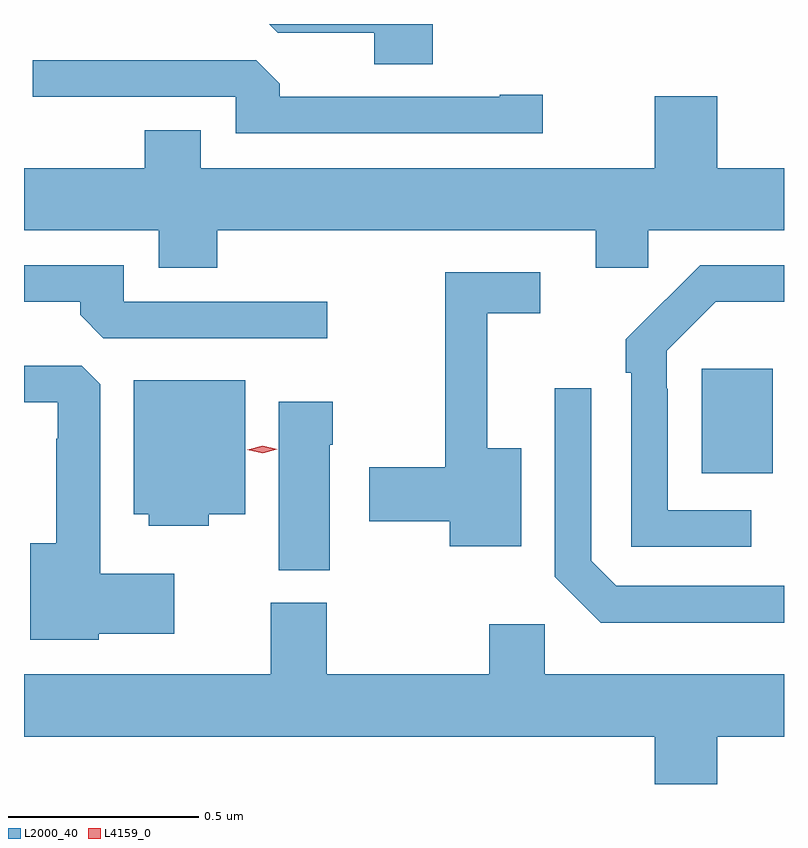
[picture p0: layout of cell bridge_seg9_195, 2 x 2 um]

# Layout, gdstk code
import gdstk
lib = gdstk.Library(unit=1e-6, precision=1e-09)
def R(c, l, rs):  # rectangles x0, y0, x1, y1
    for r in rs: c.add(gdstk.rectangle(r[:2], r[2:], *l))
def P(c, l, *ps):  # polygons
    for p in ps: c.add(gdstk.Polygon(p, *l))
L2000_40 = (2000, 40)
L4159_0 = (4159, 0)

bridge_seg9_195 = lib.new_cell('bridge_seg9_195')
R(bridge_seg9_195, L2000_40, [(177.119,1186.457,177.307,1186.732)])
P(bridge_seg9_195, L2000_40, [(176.411,1187.639),(175.981,1187.639),(176.004,1187.616),(176.258,1187.616),(176.258,1187.533),(176.411,1187.533)],
  [(176.701,1187.453),(176.588,1187.453),(176.588,1187.448),(176.009,1187.448),(176.009,1187.482),(175.947,1187.544),(175.359,1187.544),(175.359,1187.448),(175.893,1187.448),(175.893,1187.352),(176.701,1187.352)],
  [(175.844,1187.096),(176.84,1187.096),(176.84,1186.998),(176.979,1186.998),(176.979,1187.096),(177.336,1187.096),(177.336,1187.26),(177.16,1187.26),(177.16,1187.449),(176.996,1187.449),(176.996,1187.26),(175.801,1187.26),(175.801,1187.359),(175.654,1187.359),(175.654,1187.26),(175.336,1187.26),(175.336,1187.096),(175.691,1187.096),(175.691,1186.997),(175.844,1186.997)],
  [(176.134,1186.908),(175.599,1186.908),(175.599,1187.004),(175.336,1187.004),(175.336,1186.908),(175.484,1186.908),(175.484,1186.874),(175.545,1186.812),(176.134,1186.812)],
  [(177.25,1186.359),(177.03,1186.359),(177.03,1186.679),(177.027,1186.679),(177.027,1186.779),(177.156,1186.908),(177.336,1186.908),(177.336,1187.004),(177.116,1187.004),(177.025,1186.913),(177.024,1186.914),(176.919,1186.809),(176.919,1186.721),(176.934,1186.721),(176.934,1186.263),(177.25,1186.263)],
  [(176.644,1186.522),(176.555,1186.522),(176.555,1186.878),(176.695,1186.878),(176.695,1186.986),(176.445,1186.986),(176.445,1186.472),(176.244,1186.472),(176.244,1186.33),(176.456,1186.33),(176.456,1186.265),(176.644,1186.265)],
  [(175.533,1186.034),(175.732,1186.034),(175.732,1186.192),(175.537,1186.192),(175.537,1186.691),(175.488,1186.74),(175.336,1186.74),(175.336,1186.644),(175.425,1186.644),(175.425,1186.547),(175.421,1186.547),(175.421,1186.273),(175.352,1186.273),(175.352,1186.019),(175.533,1186.019)],
  [(175.822,1186.349),(175.918,1186.349),(175.918,1186.702),(175.625,1186.702),(175.625,1186.349),(175.664,1186.349),(175.664,1186.319),(175.822,1186.319)],
  [(177.336,1186.161),(176.895,1186.161),(176.829,1186.227),(176.829,1186.681),(176.733,1186.681),(176.733,1186.185),(176.854,1186.064),(177.336,1186.064)],
  [(176.14,1186.532),(176.148,1186.532),(176.148,1186.645),(176.006,1186.645),(176.006,1186.201),(176.14,1186.201)],
  [(177.16,1185.764),(177.336,1185.764),(177.336,1185.928),(176.706,1185.928),(176.706,1186.06),(176.56,1186.06),(176.56,1185.928),(176.133,1185.928),(176.133,1186.116),(175.985,1186.116),(175.985,1185.928),(175.336,1185.928),(175.336,1185.764),(176.996,1185.764),(176.996,1185.639),(177.16,1185.639)])
P(bridge_seg9_195, L4159_0, [(175.964,1186.509),(175.924,1186.518),(175.924,1186.518),(175.924,1186.518),(175.964,1186.529),(176.003,1186.52),(176.003,1186.52),(176.003,1186.52)])

lib.write_gds('bridge_seg9_195.gds')
